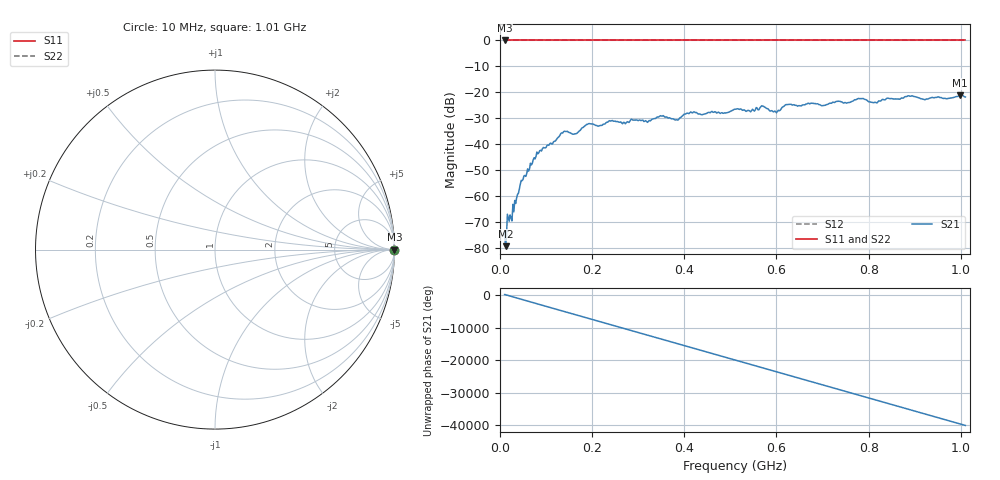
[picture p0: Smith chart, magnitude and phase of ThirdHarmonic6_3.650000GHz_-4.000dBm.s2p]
! 8/17/2025 12:17:05 PM
! C:\ANRITSUVNA\TEMP\TEMP.S2P
! CHANNEL.1
! TR.MEASUREMENT
! RAW.DATA
! RF.CORRECTION.OFF
! AVERAGING.OFF
! IF.BANDWIDTH: 5KHZ
! SWEEPTYPE:  FREQ.SWEEP(Linear)
! Reference Plane Port Info
! PORT:  PORT1  PORT2
! DISTANCE:  0  m  0  m
! TIME:  0  s  0  s
! PHASE.OFFSET:  0  deg.  0  deg.
! LOSS:  0  dB  0  dB
! REF.LOSS:  0  dB  0  dB
! REF.FREQ:  0  Hz  0  Hz
! Power Info
! POWER:  -20  dBm  -20  dBm
! EFF.POWER:  -20  dBm  -20  dBm
! SOURCE.ATTEN:  0  dB  0  dB
! TEST.ATTEN:  0  dB  0  dB
# GHZ S RI R 50.0
! FREQ.GHZ  S11RE  S11IM  S21RE  S21IM  S12RE  S12IM  S22RE  S22IM
!; PortSelection: Port_12
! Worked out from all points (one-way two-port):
!   501 points, 10 MHz to 1.01 GHz, reference 50 ohm
!   highest |S21| = -21.16 dB at 998 MHz (marker M1); lowest = -79.4 dB at 12 MHz (marker M2)
!   lowest |S11| = 0.0 dB at 10 MHz (marker M3)
!   |S11| at or under -10 dB: nowhere
!   |S22| runs from 0.0 to 0.0 dB; largest |S21 - S12| = 1.1
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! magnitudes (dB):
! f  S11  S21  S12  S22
! 10 MHz  0.0  -73.8  0.0  0.0
! 12 MHz  0.0  -79.4  0.0  0.0
! 20 MHz  0.0  -69.8  0.0  0.0
! 26 MHz  0.0  -69.7  0.0  0.0
! 48 MHz  0.0  -54.1  0.0  0.0
! 82 MHz  0.0  -43.8  0.0  0.0
! 136 MHz  0.0  -35.7  0.0  0.0
! 162 MHz  0.0  -36.1  0.0  0.0
! 178 MHz  0.0  -33.7  0.0  0.0
! 192 MHz  0.0  -32.1  0.0  0.0
! 322 MHz  0.0  -31.3  0.0  0.0
! 344 MHz  0.0  -29.6  0.0  0.0
! 384 MHz  0.0  -30.6  0.0  0.0
! 416 MHz  0.0  -27.8  0.0  0.0
! 510 MHz  0.0  -26.5  0.0  0.0
! 570 MHz  0.0  -25.4  0.0  0.0
! 598 MHz  0.0  -27.4  0.0  0.0
! 624 MHz  0.0  -24.8  0.0  0.0
! 678 MHz  0.0  -24.3  0.0  0.0
! 844 MHz  0.0  -22.4  0.0  0.0
! 998 MHz  0.0  -21.2  0.0  0.0
! 1.01 GHz  0.0  -21.8  0.0  0.0
